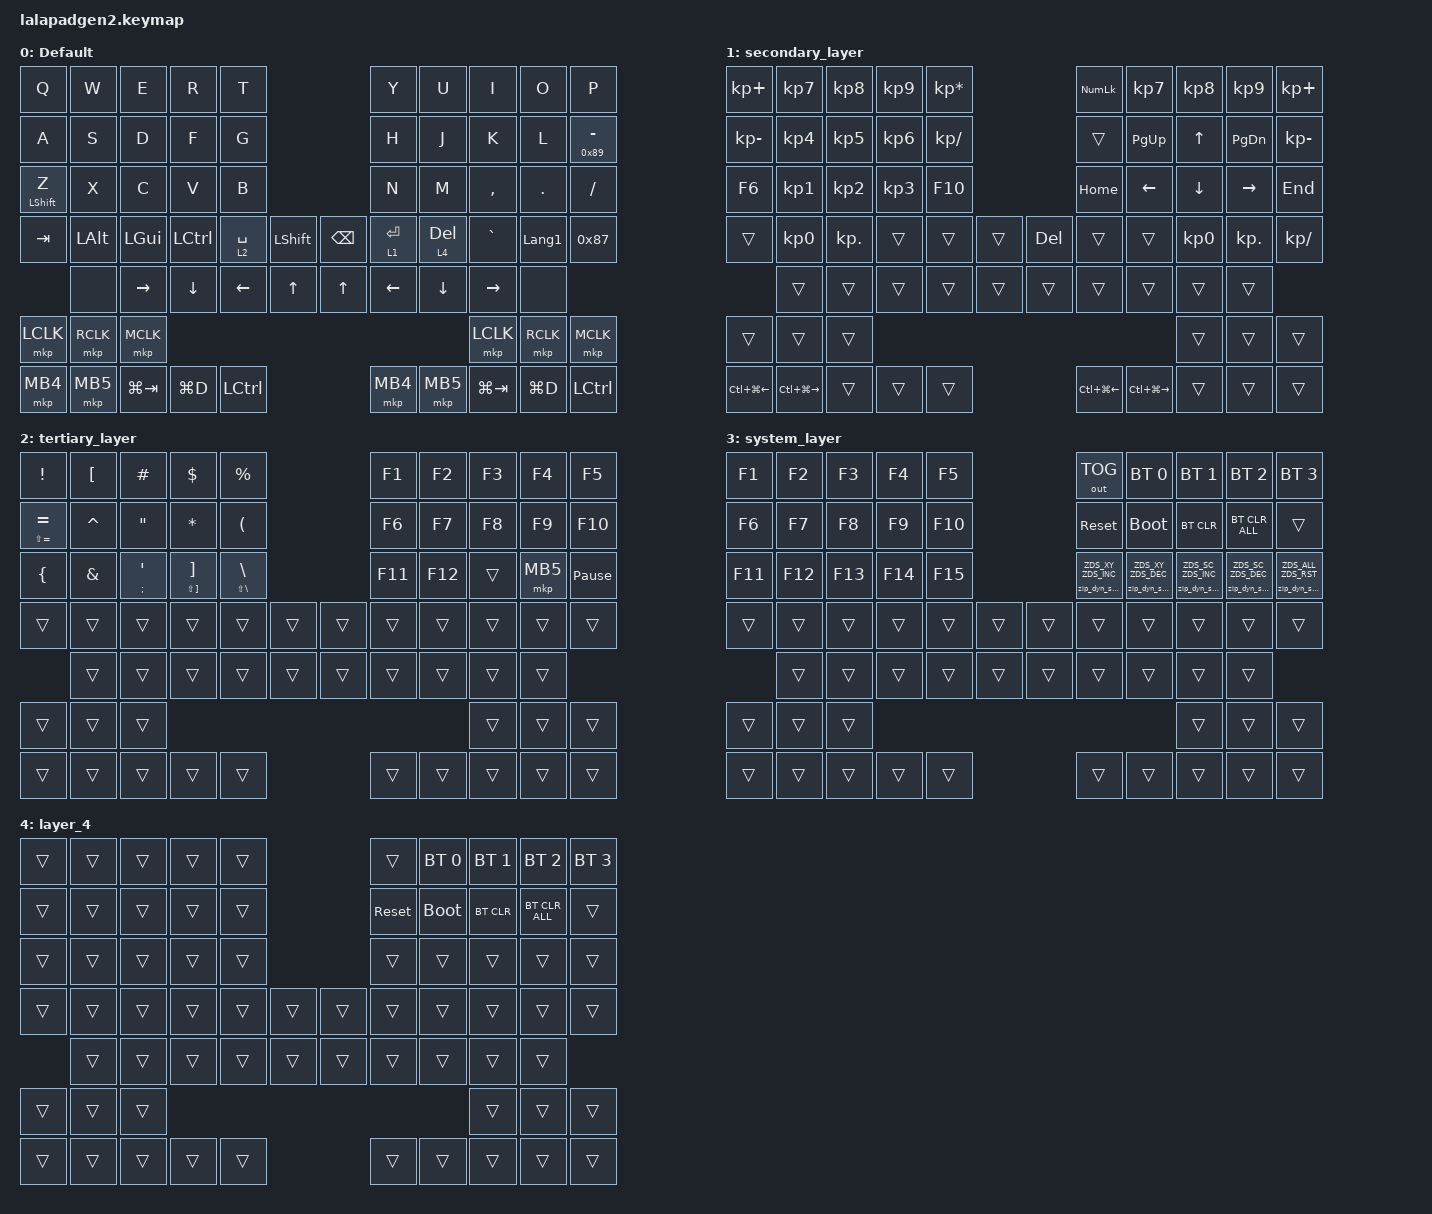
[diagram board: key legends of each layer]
#include <input/processors.dtsi>
#include <dt-bindings/zmk/zip_dynamic_scale.h>
#include <behaviors.dtsi>
#include <dt-bindings/zmk/bt.h>
#include <dt-bindings/zmk/keys.h>
#include <dt-bindings/zmk/outputs.h>
#include <dt-bindings/zmk/pointing.h>

#define DEFAULT_LAYER   0
#define SECONDARY_LAYER 1
#define TERTIARY_LAYER  2
#define SYSTEM_LAYER    3

&mt { quick-tap-ms = <200>; };

&lt { quick-tap-ms = <200>; };

/ {
    behaviors {
        zip_dyn_scale: zip_dyn_scale {
            compatible = "zmk,behavior-zip-dynamic-scale";
            #binding-cells = <2>;
        };

        zip_dyn_scale_set: zip_dyn_scale_set {
            compatible = "zmk,behavior-zip-dynamic-scale-set";
            #binding-cells = <2>;
        };

        mt2: mod_tap2 {
            compatible = "zmk,behavior-hold-tap";
            #binding-cells = <2>;
            flavor = "tap-preferred";
            tapping-term-ms = <200>;
            quick-tap-ms = <200>;
            require-prior-idle-ms = <125>;
            bindings = <&kp>, <&kp>;
        };

        tap_dance_layer_1and2: tap_dance_layer_1and2 {
            compatible = "zmk,behavior-tap-dance";
            label = "td_mo12";
            #binding-cells = <0>;
            bindings = <&mo 1>, <&mo 2>;
        };
    };

    combos {
        compatible = "zmk,combos";

        CONBO_ESC {
            bindings = <&kp ESCAPE>;
            key-positions = <0 1>;
        };

        COMBO_TAB {
            bindings = <&kp TAB>;
            key-positions = <10 11>;
        };

        lefty {
            bindings = <&tog 4>;
            key-positions = <5 6 15>;
        };

        en {
            bindings = <&kp LANG2>;
            key-positions = <12 13>;
        };

        jp {
            bindings = <&kp LANG1>;
            key-positions = <16 17>;
        };
    };

    keymap {
        compatible = "zmk,keymap";

        DEFAULT_LAYER {
            display-name = "Default";
            bindings = <
&kp Q              &kp W         &kp E         &kp R      &kp T                                       &kp Y        &kp U         &kp I        &kp O           &kp P
&kp A              &kp S         &kp D         &kp F      &kp G                                       &kp H        &kp J         &kp K        &kp L           &mt2 0x89 MINUS
&mt2 LEFT_SHIFT Z  &kp X         &kp C         &kp V      &kp B                                       &kp N        &kp M         &kp COMMA    &kp PERIOD      &kp SLASH
&kp TAB            &kp LEFT_ALT  &kp LEFT_GUI  &kp LCTRL  &lt 2 SPACE  &kp LEFT_SHIFT  &kp BACKSPACE  &lt 1 ENTER  &lt 4 DELETE  &kp GRAVE    &kp LANGUAGE_1  &kp 0x87
                   &none         &kp RIGHT     &kp DOWN   &kp LEFT     &kp UP          &kp UP         &kp LEFT     &kp DOWN      &kp RIGHT    &none
&mkp LCLK          &mkp RCLK     &mkp MCLK                                                                                       &mkp LCLK    &mkp RCLK       &mkp MCLK
&mkp MB4           &mkp MB5      &kp LG(TAB)   &kp LG(D)  &kp LCTRL                                   &mkp MB4     &mkp MB5      &kp LG(TAB)  &kp LG(D)       &kp LCTRL
            >;
        };

        SECONDARY_LAYER {
            display-name = "secondary_layer";
            bindings = <
&kp KP_PLUS       &kp KP_NUMBER_7    &kp KP_NUMBER_8  &kp KP_NUMBER_9  &kp KP_MULTIPLY                   &kp KP_NUMLOCK    &kp KP_NUMBER_7    &kp KP_NUMBER_8  &kp KP_NUMBER_9  &kp KP_PLUS
&kp KP_MINUS      &kp KP_NUMBER_4    &kp KP_NUMBER_5  &kp KP_NUMBER_6  &kp KP_SLASH                      &trans            &kp PG_UP          &kp UP_ARROW     &kp PG_DN        &kp KP_MINUS
&kp F6            &kp KP_NUMBER_1    &kp KP_NUMBER_2  &kp KP_NUMBER_3  &kp F10                           &kp HOME          &kp LEFT           &kp DOWN_ARROW   &kp RIGHT        &kp END
&trans            &kp KP_NUMBER_0    &kp KP_DOT       &trans           &trans           &trans  &kp DEL  &trans            &trans             &kp KP_NUMBER_0  &kp KP_DOT       &kp KP_DIVIDE
                  &trans             &trans           &trans           &trans           &trans  &trans   &trans            &trans             &trans           &trans
&trans            &trans             &trans                                                                                                   &trans           &trans           &trans
&kp LC(LG(LEFT))  &kp LC(LG(RIGHT))  &trans           &trans           &trans                            &kp LC(LG(LEFT))  &kp LC(LG(RIGHT))  &trans           &trans           &trans
            >;
        };

        TERTIARY_LAYER {
            display-name = "tertiary_layer";
            bindings = <
&kp EXCLAMATION      &kp LEFT_BRACKET  &kp HASH               &kp DOLLAR                           &kp PERCENT                                  &kp F1   &kp F2   &kp F3  &kp F4    &kp F5
&mt LS(EQUAL) EQUAL  &kp CARET         &kp DOUBLE_QUOTES      &kp ASTERISK                         &kp LEFT_PARENTHESIS                         &kp F6   &kp F7   &kp F8  &kp F9    &kp F10
&kp LEFT_BRACE       &kp AMPERSAND     &mt SEMI SINGLE_QUOTE  &mt LS(RIGHT_BRACKET) RIGHT_BRACKET  &mt LS(BACKSLASH) BACKSLASH                  &kp F11  &kp F12  &trans  &mkp MB5  &kp PAUSE_BREAK
&trans               &trans            &trans                 &trans                               &trans                       &trans  &trans  &trans   &trans   &trans  &trans    &trans
                     &trans            &trans                 &trans                               &trans                       &trans  &trans  &trans   &trans   &trans  &trans
&trans               &trans            &trans                                                                                                                     &trans  &trans    &trans
&trans               &trans            &trans                 &trans                               &trans                                       &trans   &trans   &trans  &trans    &trans
            >;
        };

        SYSTEM_LAYER {
            display-name = "system_layer";
            bindings = <
&kp F1   &kp F2   &kp F3   &kp F4   &kp F5                   &out OUT_TOG                   &bt BT_SEL 0                   &bt BT_SEL 1                   &bt BT_SEL 2                   &bt BT_SEL 3
&kp F6   &kp F7   &kp F8   &kp F9   &kp F10                  &sys_reset                     &bootloader                    &bt BT_CLR                     &bt BT_CLR_ALL                 &trans
&kp F11  &kp F12  &kp F13  &kp F14  &kp F15                  &zip_dyn_scale ZDS_XY ZDS_INC  &zip_dyn_scale ZDS_XY ZDS_DEC  &zip_dyn_scale ZDS_SC ZDS_INC  &zip_dyn_scale ZDS_SC ZDS_DEC  &zip_dyn_scale ZDS_ALL ZDS_RST
&trans   &trans   &trans   &trans   &trans   &trans  &trans  &trans                         &trans                         &trans                         &trans                         &trans
         &trans   &trans   &trans   &trans   &trans  &trans  &trans                         &trans                         &trans                         &trans
&trans   &trans   &trans                                                                                                   &trans                         &trans                         &trans
&trans   &trans   &trans   &trans   &trans                   &trans                         &trans                         &trans                         &trans                         &trans
            >;
        };

        layer_4 {
            bindings = <
&trans  &trans  &trans  &trans  &trans                  &trans      &bt BT_SEL 0  &bt BT_SEL 1  &bt BT_SEL 2    &bt BT_SEL 3
&trans  &trans  &trans  &trans  &trans                  &sys_reset  &bootloader   &bt BT_CLR    &bt BT_CLR_ALL  &trans
&trans  &trans  &trans  &trans  &trans                  &trans      &trans        &trans        &trans          &trans
&trans  &trans  &trans  &trans  &trans  &trans  &trans  &trans      &trans        &trans        &trans          &trans
        &trans  &trans  &trans  &trans  &trans  &trans  &trans      &trans        &trans        &trans
&trans  &trans  &trans                                                            &trans        &trans          &trans
&trans  &trans  &trans  &trans  &trans                  &trans      &trans        &trans        &trans          &trans
            >;
        };
    };

    conditional_layers {
        compatible = "zmk,conditional-layers";

        Cond_Syslayer {
            if-layers = <1 2>;
            then-layer = <3>;
        };
    };
};
